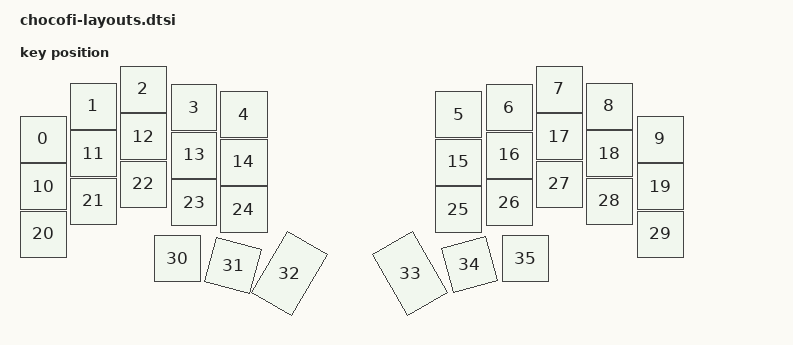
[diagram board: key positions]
/* Chocofi 36-key physical layout for ZMK Studio.
 * Key order matches default_transform and the 36-position keymap.
 * Coordinates are taken from this repository's existing keymap-drawer layout.
 */
#include <physical_layouts.dtsi>

/ {
    default_layout: default_layout {
        compatible = "zmk,physical-layout";
        display-name = "Chocofi 36-key";
        transform = <&default_transform>;
        keys
            = <&key_physical_attrs 100 100 0 100 0 0 0> /* 0 */
             ,<&key_physical_attrs 100 100 100 34 0 0 0> /* 1 */
             ,<&key_physical_attrs 100 100 200 0 0 0 0> /* 2 */
             ,<&key_physical_attrs 100 100 302 37 0 0 0> /* 3 */
             ,<&key_physical_attrs 100 100 402 51 0 0 0> /* 4 */
             ,<&key_physical_attrs 100 100 831 51 0 0 0> /* 5 */
             ,<&key_physical_attrs 100 100 932 37 0 0 0> /* 6 */
             ,<&key_physical_attrs 100 100 1032 0 0 0 0> /* 7 */
             ,<&key_physical_attrs 100 100 1132 34 0 0 0> /* 8 */
             ,<&key_physical_attrs 100 100 1234 100 0 0 0> /* 9 */
             ,<&key_physical_attrs 100 100 0 195 0 0 0> /* 10 */
             ,<&key_physical_attrs 100 100 100 129 0 0 0> /* 11 */
             ,<&key_physical_attrs 100 100 200 95 0 0 0> /* 12 */
             ,<&key_physical_attrs 100 100 302 132 0 0 0> /* 13 */
             ,<&key_physical_attrs 100 100 402 146 0 0 0> /* 14 */
             ,<&key_physical_attrs 100 100 831 146 0 0 0> /* 15 */
             ,<&key_physical_attrs 100 100 932 132 0 0 0> /* 16 */
             ,<&key_physical_attrs 100 100 1032 95 0 0 0> /* 17 */
             ,<&key_physical_attrs 100 100 1132 129 0 0 0> /* 18 */
             ,<&key_physical_attrs 100 100 1234 195 0 0 0> /* 19 */
             ,<&key_physical_attrs 100 100 0 290 0 0 0> /* 20 */
             ,<&key_physical_attrs 100 100 100 224 0 0 0> /* 21 */
             ,<&key_physical_attrs 100 100 200 190 0 0 0> /* 22 */
             ,<&key_physical_attrs 100 100 302 227 0 0 0> /* 23 */
             ,<&key_physical_attrs 100 100 402 241 0 0 0> /* 24 */
             ,<&key_physical_attrs 100 100 831 241 0 0 0> /* 25 */
             ,<&key_physical_attrs 100 100 932 227 0 0 0> /* 26 */
             ,<&key_physical_attrs 100 100 1032 190 0 0 0> /* 27 */
             ,<&key_physical_attrs 100 100 1132 224 0 0 0> /* 28 */
             ,<&key_physical_attrs 100 100 1234 290 0 0 0> /* 29 */
             ,<&key_physical_attrs 100 100 268 339 0 0 0> /* 30 */
             ,<&key_physical_attrs 100 100 380 353 1500 430 403> /* 31 */
             ,<&key_physical_attrs 100 150 493 344 3000 543 419> /* 32 */
             ,<&key_physical_attrs 100 150 734 344 -3000 784 419> /* 33 */
             ,<&key_physical_attrs 100 100 853 351 -1500 903 401> /* 34 */
             ,<&key_physical_attrs 100 100 964 339 0 0 0> /* 35 */
            ;
    };
};
